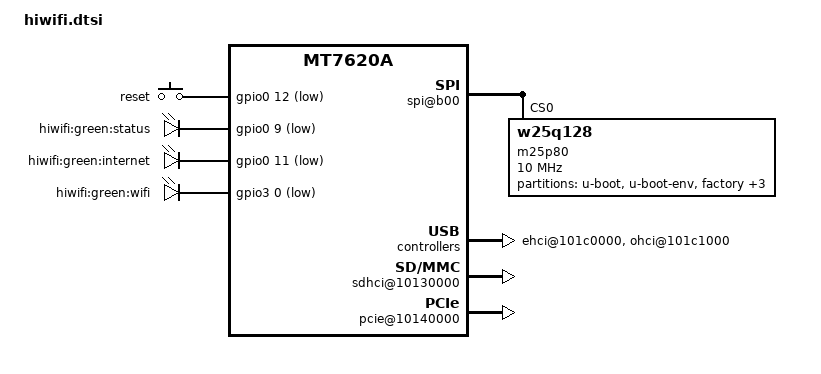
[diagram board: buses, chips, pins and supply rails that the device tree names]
/include/ "mt7620a.dtsi"

/ {
	chosen {
		bootargs = "console=ttyS0,115200";
	};

	palmbus@10000000 {
		sysc@0 {
			ralink,gpiomux = "i2c", "jtag";
			ralink,uartmux = "gpio";
			ralink,wdtmux = <1>;
		};

		gpio0: gpio@600 {
			status = "okay";
		};

		gpio2: gpio@660 {
			status = "okay";
		};

		gpio3: gpio@688 {
			status = "okay";
		};

		spi@b00 {
			status = "okay";

			m25p80@0 {
				#address-cells = <1>;
				#size-cells = <1>;
				compatible = "w25q128";
				reg = <0 0>;
				linux,modalias = "m25p80", "w25q128";
				spi-max-frequency = <10000000>;

				partition@0 {
					label = "u-boot";
					reg = <0x0 0x30000>;
					read-only;
				};

				partition@30000 {
					label = "u-boot-env";
					reg = <0x30000 0x10000>;
					read-only;
				};

				factory: partition@40000 {
					label = "factory";
					reg = <0x40000 0x10000>;
					read-only;
				};

				bdinfo: partition@fe0000 {
					label = "bdinfo";
					reg = <0xfe0000 0x10000>;
					read-only;
				};

				backup: partition@ff0000 {
					label = "backup";
					reg = <0xff0000 0x10000>;
					read-only;
				};

				partition@50000 {
					label = "firmware";
					reg = <0x50000 0xf90000>;
				};
			};
		};
	};

	pinctrl {
		state_default: pinctrl0 {
			gpio {
				ralink,group = "mdio", "rgmii1", "uartf", "wled";
				ralink,function = "gpio";
			};
			nd_sd {
				ralink,group = "nd_sd";
				ralink,function = "sd";
			};						
		};
	};

	ehci@101c0000 {
		status = "okay";
	};

	ohci@101c1000 {
		status = "okay";
	};

	ethernet@10100000 {
		ralink,port-map = "wllll";
	};

	gsw@10110000 {
		ralink,port4 = "ephy";

		pinctrl-names = "default";
		pinctrl-0 = <&ephy_pins>;
	};

	sdhci@10130000 {
		status = "okay";
	};
	
	pcie@10140000 {
		status = "okay";
	};

	wmac@10180000 {
		ralink,mtd-eeprom = <&factory 0>;
	};

	gpio-keys-polled {
		compatible = "gpio-keys-polled";
		#address-cells = <1>;
		#size-cells = <0>;
		poll-interval = <20>;
		reset {
			label = "reset";
			gpios = <&gpio0 12 1>;
			linux,code = <0x198>;
		};
	};

	gpio-leds {
		compatible = "gpio-leds";
		status {
			label = "hiwifi:green:status";
			gpios = <&gpio0 9 1>;
		};
		internet {
			label = "hiwifi:green:internet";
			gpios = <&gpio0 11 1>;
		};
		wlan1 {
			label = "hiwifi:green:wifi";
			gpios = <&gpio3 0 1>;
		};
	};
};
